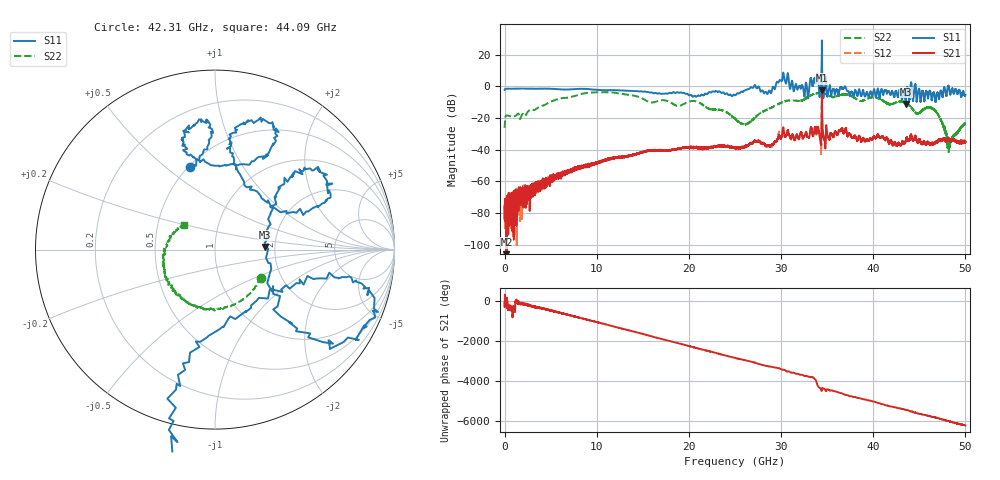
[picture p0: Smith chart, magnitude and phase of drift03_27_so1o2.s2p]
!Created with skrf (http://scikit-rf.org).
# Hz S RI R 50.0
!freq ReS11 ImS11 ReS21 ImS21 ReS12 ImS12 ReS22 ImS22
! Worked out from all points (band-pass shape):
!   10000 points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, 5.3 MHz to 50 GHz, reference 50 ohm
!   highest |S21| = -2.36 dB at 34.43 GHz (marker M1); lowest = -112.2 dB at 210.3 MHz (marker M2)
!   |S21| within 3 dB of the highest: 34.42766 GHz to 34.43428 GHz (6.628 MHz wide, 0.0193 % of centre)
!   lowest |S11| = -11.1 dB at 43.52 GHz (marker M3), VSWR 1.78, Z = 88.7 + j2.68 ohm
!   |S11| at or under -10 dB: 43.49814 GHz to 43.53902 GHz (40.89 MHz wide, 0.094 % of centre)
!   |S22| runs from -41.5 to -3.6 dB; largest |S21 - S12| = 0.25
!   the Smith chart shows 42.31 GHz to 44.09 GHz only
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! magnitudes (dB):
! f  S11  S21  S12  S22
! 5.3 MHz  -2.1  -83.4  -77.7  -26.1
! 210.3 MHz  -1.4  -112.2  -79.8  -18.3
! 1.825 GHz  -1.3  -68.1  -67.3  -18.6
! 8.34 GHz  -1.5  -51.1  -50.7  -4.7
! 16.67 GHz  -4.4  -40.4  -40.3  -9.1
! 20.72 GHz  -6.2  -38.6  -38.4  -9.3
! 25.01 GHz  -5.5  -38.8  -38.7  -20.5
! 26.23 GHz  -2.2  -37.4  -37.5  -23.8
! 27.37 GHz  -1.1  -34.9  -34.8  -18.6
! 28.72 GHz  -2.5  -37.7  -37.7  -14.0
! 30.14 GHz  4.4  -29.4  -29.6  -10.0
! 32.74 GHz  2.0  -29.5  -29.2  -7.4
! 33.34 GHz  2.6  -27.3  -27.7  -5.3
! 33.82 GHz  4.0  -29.1  -29.5  -4.2
! 34.43 GHz  29.1  -2.4  -4.5  -4.0
! 36.48 GHz  -0.4  -28.0  -27.9  -5.3
! 41.67 GHz  -3.1  -35.6  -35.6  -11.2
! 43.52 GHz  -11.1  -34.3  -34.5  -10.4
! 44.74 GHz  -9.0  -34.6  -34.4  -17.2
! 46.68 GHz  -6.3  -36.0  -35.9  -15.2
! 48.21 GHz  -0.3  -33.8  -33.1  -37.1
! 50 GHz  -5.3  -34.7  -35.0  -23.2
